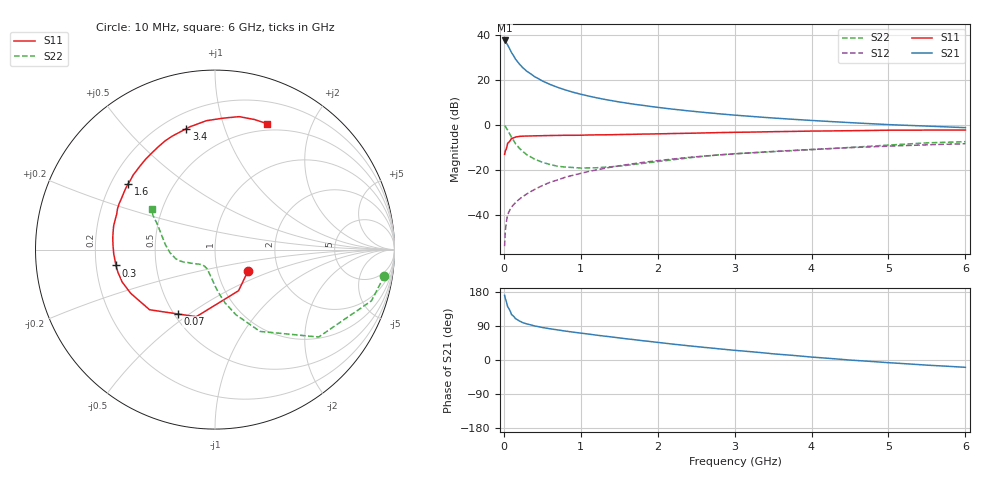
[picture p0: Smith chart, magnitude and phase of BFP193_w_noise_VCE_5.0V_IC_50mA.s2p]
! Infineon Technologies  Discrete & RF Semiconductors
! BFP193
! VCE =  5.0 V,  IC =  50 mA
! Common Emitter S-Parameters:  Jan 2017
# GHz  S  MA  R  50
!  f  S11  S21  S12  S22
! GHz  MAG  ANG  MAG  ANG  MAG  ANG  MAG  ANG
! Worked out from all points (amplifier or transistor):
!   77 points, 10 MHz to 6 GHz, reference 50 ohm
!   highest |S21| = 37.4 dB at 10 MHz (marker M1)
!   |S21| within 3 dB of that: start of sweep to 64.69 MHz
!   unconditionally stable (mu >= 1): 594.2 MHz to 2.399 GHz
!   at 130 MHz: K = 0.62, MSG = 32.9 dB, |S12| = -35.4 dB
!   at 2.2 GHz: K = 1.01, MAG = 10.4 dB, |S12| = -15.3 dB
!   at 6 GHz: K = 0.92, MSG = 3.6 dB, |S12| = -8.5 dB
!   lowest NFmin = 1.52 dB at 450 MHz
!   S11 on the Smith chart (normalised r, x): 10 MHz: 1.40, -0.35; 70 MHz: 0.52, -0.45; 300 MHz: 0.28, -0.07; 1.6 GHz: 0.27, +0.31; 3.4 GHz: 0.29, +0.75; 6 GHz: 0.43, +1.41
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0.01  0.2194 -32.9  74.08 170.5  0.002 78.9  0.9549 -8.8
0.02  0.264 -60.2  72.5 161.8  0.0045 81.9  0.9173 -18.1
0.05  0.388 -105.6  58.53 140.4  0.0101 65.6  0.7559 -40.1
0.07  0.4145 -120.2  50.35 134.1  0.0119 63.2  0.652 -46.7
0.1  0.4951 -137.4  39.82 120.0  0.0147 60.8  0.5203 -61.2
0.15  0.5291 -152.6  28.82 109.6  0.0185 59.1  0.3811 -72.2
0.2  0.5478 -160.7  22.36 103.1  0.022 63.0  0.302 -79.3
0.25  0.5554 -166.9  18.19 98.3  0.0255 63.9  0.2503 -84.2
0.3  0.5588 -170.9  15.27 95.1  0.029 65.2  0.2138 -88.5
0.4  0.5645 -177.5  11.62 89.8  0.0363 67.1  0.1708 -94.7
0.5  0.5689 177.5  9.339 85.8  0.0443 68.1  0.146 -100.5
0.6  0.5733 173.4  7.83 82.4  0.0524 68.6  0.1301 -105.7
0.7  0.5763 170.1  6.719 79.4  0.0593 69.1  0.1193 -109.8
0.8  0.5802 166.5  5.898 76.3  0.0681 68.6  0.1141 -113.6
1.1  0.5893 157.1  4.319 68.4  0.0912 66.2  0.1095 -125.0
1.6  0.607 143.0  3.003 55.8  0.1294 60.9  0.125 -140.2
2.1  0.6292 129.9  2.31 44.2  0.1654 54.7  0.1586 -152.1
3.1  0.6789 108.8  1.579 23.9  0.2302 41.9  0.2308 -169.4
3.4  0.6924 103.3  1.445 18.4  0.2477 38.4  0.2462 -174.6
4.1  0.7216 92.3  1.211 6.3  0.2866 30.1  0.2845 171.9
5.1  0.753 78.4  0.986 -8.3  0.3374 18.5  0.3595 155.1
6  0.7594 67.4  0.858 -19.3  0.3773 8.4  0.4188 147.3
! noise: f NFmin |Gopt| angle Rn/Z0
0.45  1.52  0.43  -170  0.08
0.9  1.57  0.45  -164  0.09
1.9  2.2  0.61  -132  0.23
2.4  2.55  0.64  -119  0.48
